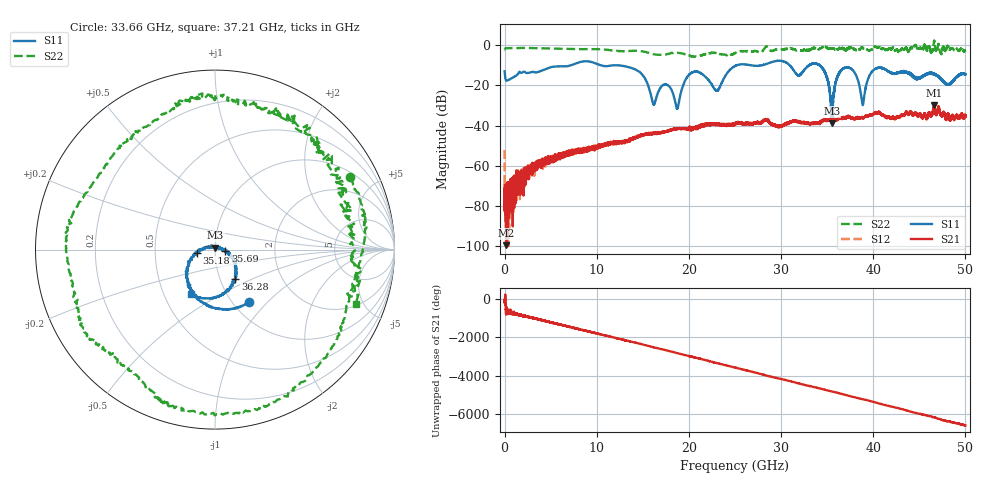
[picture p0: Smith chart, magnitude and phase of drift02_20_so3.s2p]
!Created with skrf (http://scikit-rf.org).
# Hz S RI R 50.0
!freq ReS11 ImS11 ReS21 ImS21 ReS12 ImS12 ReS22 ImS22
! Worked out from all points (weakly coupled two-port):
!   10001 points, 300 kHz to 50 GHz, reference 50 ohm
!   highest |S21| = -29.95 dB at 46.6 GHz (marker M1); lowest = -99.6 dB at 165.3 MHz (marker M2)
!   lowest |S11| = -38.9 dB at 35.51 GHz (marker M3), VSWR 1.02, Z = 50.3 + j1.11 ohm
!   |S11| at or under -10 dB: start of sweep to 7.177 GHz; 12.33 GHz to 25.16 GHz (12.84 GHz wide, 68.5 % of centre); 34.22 GHz to end of sweep (the widest 3 of 17)
!   |S22| runs from -5.7 to 2.4 dB; largest |S21 - S12| = 0.0038
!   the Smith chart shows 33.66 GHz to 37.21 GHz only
!   S11 on the Smith chart (normalised r, x): 33.66 GHz: 1.18, -0.79; 35.18 GHz: 0.81, -0.03; 35.69 GHz: 1.12, -0.01; 36.28 GHz: 1.18, -0.41; 37.21 GHz: 0.68, -0.37
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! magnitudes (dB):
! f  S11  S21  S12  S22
! 300 kHz  -13.0  -69.6  -52.2  -2.1
! 165.3 MHz  -17.5  -99.6  -72.2  -1.4
! 8.335 GHz  -8.2  -52.2  -52.0  -1.9
! 14.01 GHz  -11.7  -46.3  -46.0  -2.8
! 16.14 GHz  -29.3  -44.0  -43.7  -4.5
! 16.67 GHz  -23.2  -43.9  -43.5  -4.7
! 18.74 GHz  -31.5  -41.5  -41.4  -3.7
! 20.24 GHz  -13.9  -41.3  -41.3  -5.5
! 23.03 GHz  -22.7  -39.3  -39.4  -4.1
! 25 GHz  -10.3  -39.1  -38.9  -3.9
! 33.34 GHz  -9.4  -38.7  -38.8  -1.6
! 33.66 GHz  -9.1  -39.0  -38.6  -1.4
! 35.18 GHz  -19.7  -37.2  -37.2  -1.6
! 35.51 GHz  -38.9  -36.6  -36.9  -1.7
! 35.69 GHz  -24.8  -36.5  -36.8  -1.8
! 36.28 GHz  -14.0  -36.4  -36.6  -1.7
! 37.21 GHz  -11.0  -35.6  -35.7  -1.5
! 38.86 GHz  -29.7  -36.3  -36.0  -1.4
! 39.96 GHz  -12.7  -34.2  -34.3  -1.9
! 41.67 GHz  -13.1  -35.5  -35.7  -1.9
! 46.6 GHz  -14.5  -30.0  -30.5  1.8
! 50 GHz  -14.5  -35.5  -34.9  -2.7
